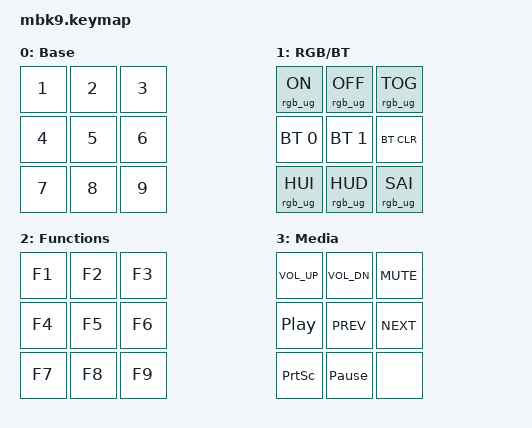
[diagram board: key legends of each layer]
/*
 * Copyright (c) 2025 MBK9 Contributors
 *
 * SPDX-License-Identifier: MIT
 */

#include <behaviors.dtsi>
#include <dt-bindings/zmk/keys.h>
#include <dt-bindings/zmk/bt.h>
#include <dt-bindings/zmk/rgb.h>

/ {
    keymap {
        compatible = "zmk,keymap";

        // Layer 0: Main layer - numpad/macro pad
        default_layer {
            display-name = "Base";
            bindings = <
                &kp N1       &kp N2       &kp N3
                &kp N4       &kp N5       &kp N6
                &kp N7       &kp N8       &kp N9
            >;
        };

        // Layer 1: RGB/Bluetooth control
        rgb_layer {
            display-name = "RGB/BT";
            bindings = <
                &rgb_ug RGB_ON      &rgb_ug RGB_OFF     &rgb_ug RGB_TOG
                &bt BT_SEL 0        &bt BT_SEL 1        &bt BT_CLR
                &rgb_ug RGB_HUI     &rgb_ug RGB_HUD     &rgb_ug RGB_SAI
            >;
        };

        // Layer 2: Additional functions
        func_layer {
            display-name = "Functions";
            bindings = <
                &kp F1              &kp F2              &kp F3
                &kp F4              &kp F5              &kp F6
                &kp F7              &kp F8              &kp F9
            >;
        };

        // Layer 3: Media/Special controls
        media_layer {
            display-name = "Media";
            bindings = <
                &kp C_VOL_UP        &kp C_VOL_DN        &kp C_MUTE
                &kp C_PLAY_PAUSE    &kp C_PREV          &kp C_NEXT
                &kp PSCRN           &kp PAUSE_BREAK     &none
            >;
        };
    };

    // Optional: Conditional layer activation with any key
    combos {
        compatible = "zmk,combos";
        #address-cells = <1>;
        #size-cells = <0>;

        combo_rgb_layer {
            timeout-ms = <50>;
            key-positions = <0 1 2>;
            bindings = <&mo 1>;
        };

        combo_func_layer {
            timeout-ms = <50>;
            key-positions = <3 4 5>;
            bindings = <&mo 2>;
        };

        combo_media_layer {
            timeout-ms = <50>;
            key-positions = <6 7 8>;
            bindings = <&mo 3>;
        };
    };
};
